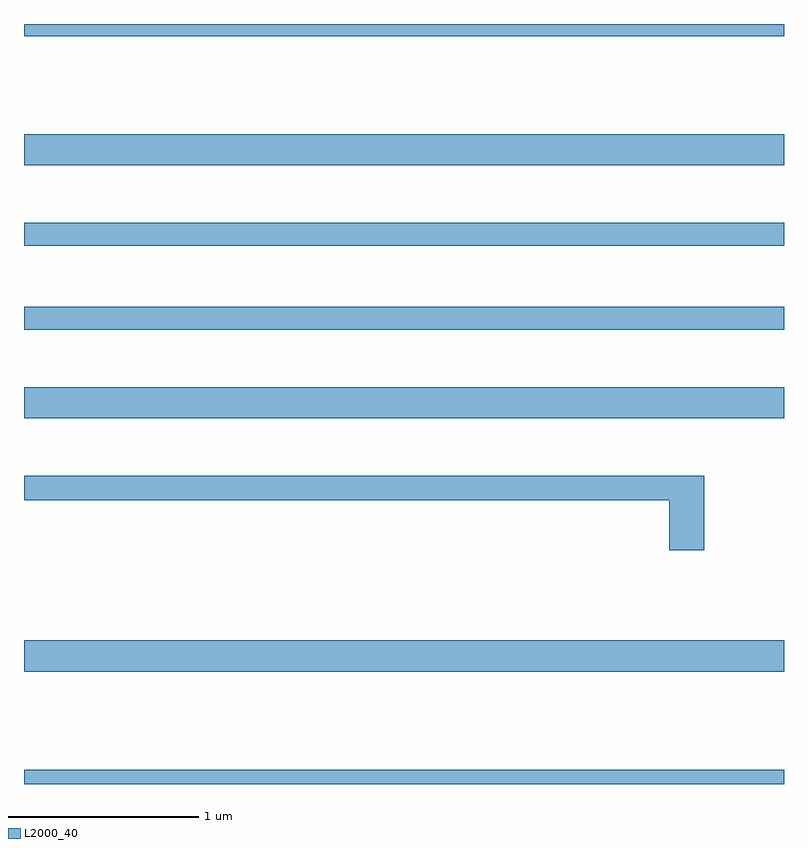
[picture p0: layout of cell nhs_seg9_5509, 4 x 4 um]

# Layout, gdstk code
import gdstk
lib = gdstk.Library(unit=1e-6, precision=1e-09)
def R(c, l, rs):  # rectangles x0, y0, x1, y1
    for r in rs: c.add(gdstk.rectangle(r[:2], r[2:], *l))
def A(c, l, x, y, w, h, nx, ny, dx, dy):  # array of equal rectangles
    R(c, l, [(x+i*dx, y+j*dy, x+i*dx+w, y+j*dy+h) for i in range(nx) for j in range(ny)])
def P(c, l, *ps):  # polygons
    for p in ps: c.add(gdstk.Polygon(p, *l))
L2000_40 = (2000, 40)

nhs_seg9_5509 = lib.new_cell('nhs_seg9_5509')
A(nhs_seg9_5509, L2000_40, 431, 1191.092, 4, 0.164, 1, 3, 0, 1.332)
R(nhs_seg9_5509, L2000_40, [(431,1190.5,435,1190.576), (431,1192.89,435,1193.011), (431,1193.334,435,1193.455), (431,1194.436,435,1194.5)])
P(nhs_seg9_5509, L2000_40, [(434.579,1192.123),(431,1192.123),(431,1191.994),(434.396,1191.994),(434.396,1191.729),(434.579,1191.729)])

lib.write_gds('nhs_seg9_5509.gds')
